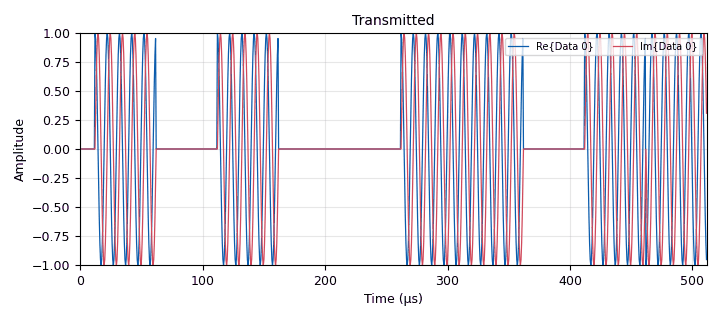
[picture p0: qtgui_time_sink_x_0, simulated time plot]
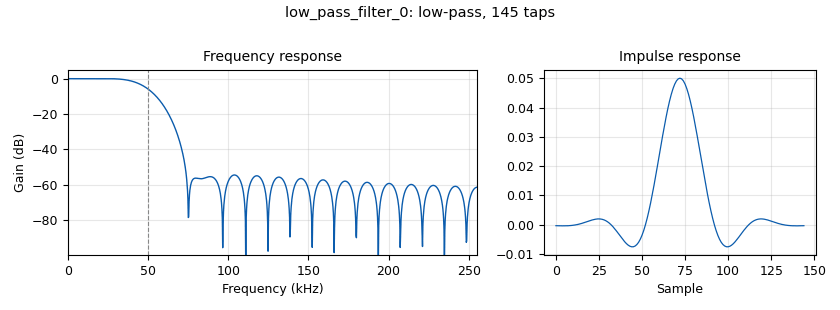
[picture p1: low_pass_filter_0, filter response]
options:
  parameters:
    generate_options: qt_gui
    id: nadafunciona
    output_language: python
    title: Not titled yet
  states: {}

blocks:
- name: info
  id: variable
  parameters:
    value: np.random.choice([0, 1], size=1000)
  states: {state: disabled}
- name: preamble
  id: variable
  parameters:
    value: np.array([0,0,0,0,1,0,1,0,1,0,0,1,1,0,1])
  states: {}
- name: samp_rate
  id: variable
  parameters:
    value: '2000000'
  states: {}
- name: sps
  id: variable
  parameters:
    value: '100'
  states: {}
- name: analog_agc2_xx_0
  id: analog_agc2_xx
  parameters:
    attack_rate: '1e-1'
    decay_rate: '1e-2'
    gain: '1.0'
    max_gain: '65536'
    reference: '1.0'
    type: complex
  states: {}
- name: analog_const_source_x_0
  id: analog_const_source_x
  parameters:
    const: '1'
    type: complex
  states: {state: disabled}
- name: analog_sig_source_x_0
  id: analog_sig_source_x
  parameters:
    amp: '1'
    freq: 100e3
    offset: '0'
    phase: '0'
    samp_rate: samp_rate
    type: complex
    waveform: analog.GR_COS_WAVE
  states: {}
- name: blocks_complex_to_float_0
  id: blocks_complex_to_float
  parameters: {}
  states: {state: disabled}
- name: blocks_complex_to_float_0_0
  id: blocks_complex_to_float
  parameters: {}
  states: {state: disabled}
- name: blocks_complex_to_float_0_0_0
  id: blocks_complex_to_float
  parameters: {}
  states: {state: disabled}
- name: blocks_complex_to_float_0_0_1
  id: blocks_complex_to_float
  parameters: {}
  states: {state: disabled}
- name: blocks_complex_to_float_0_1
  id: blocks_complex_to_float
  parameters: {}
  states: {state: disabled}
- name: blocks_complex_to_float_0_1_0
  id: blocks_complex_to_float
  parameters: {}
  states: {}
- name: blocks_complex_to_float_1
  id: blocks_complex_to_float
  parameters: {}
  states: {state: disabled}
- name: blocks_file_sink_0
  id: blocks_file_sink
  parameters:
    file: C:\Users\ariel\OneDrive\Desktop\TEST_OOK_NOGAIN.bin
    type: float
  states: {state: disabled}
- name: blocks_file_sink_0_0
  id: blocks_file_sink
  parameters:
    file: C:\Users\ariel\OneDrive\Desktop\TEST_OOK_AGC2.bin
    type: float
  states: {state: disabled}
- name: blocks_file_sink_0_1
  id: blocks_file_sink
  parameters:
    file: C:\Users\ariel\OneDrive\Desktop\SENT.bin
    type: float
  states: {state: disabled}
- name: blocks_file_sink_1
  id: blocks_file_sink
  parameters:
    file: C:\Users\ariel\OneDrive\Desktop\originalsignalnoH.bin
    type: float
  states: {state: disabled}
- name: blocks_file_sink_1_0
  id: blocks_file_sink
  parameters:
    file: C:\Users\ariel\OneDrive\Desktop\workspace\demodulated.bin
    type: float
  states: {}
- name: blocks_file_source_0
  id: blocks_file_source
  parameters:
    file: C:\Users\ariel\OneDrive\Desktop\enviotestingimpulso.bin
    repeat: 'True'
    type: float
  states: {state: disabled}
- name: blocks_file_source_0_0
  id: blocks_file_source
  parameters:
    file: C:\Users\ariel\OneDrive\Desktop\OOKTESTINGS\NUEVOLED\BPSK CON H\enviotesting.bin
    repeat: 'True'
    type: float
  states: {state: disabled}
- name: blocks_file_source_0_0_0
  id: blocks_file_source
  parameters:
    file: C:\Users\ariel\OneDrive\Desktop\dataOG.bin
    repeat: 'False'
    type: float
  states: {state: disabled}
- name: blocks_float_to_complex_0
  id: blocks_float_to_complex
  parameters: {}
  states: {state: disabled}
- name: blocks_float_to_complex_0_0
  id: blocks_float_to_complex
  parameters: {}
  states: {state: disabled}
- name: blocks_float_to_complex_1
  id: blocks_float_to_complex
  parameters: {}
  states: {state: disabled}
- name: blocks_multiply_const_vxx_0
  id: blocks_multiply_const_vxx
  parameters:
    const: '15'
    type: float
  states: {state: disabled}
- name: blocks_multiply_xx_0
  id: blocks_multiply_xx
  parameters:
    type: complex
  states: {}
- name: blocks_multiply_xx_0_0
  id: blocks_multiply_xx
  parameters:
    type: complex
  states: {state: disabled}
- name: blocks_multiply_xx_1
  id: blocks_multiply_xx
  parameters:
    type: complex
  states: {}
- name: blocks_repeat_0
  id: blocks_repeat
  parameters:
    interp: sps
    type: complex
  states: {}
- name: blocks_repeat_0_0
  id: blocks_repeat
  parameters:
    interp: sps
    type: complex
  states: {state: disabled}
- name: blocks_vector_source_x_0
  id: blocks_vector_source_x
  parameters:
    repeat: 'True'
    type: complex
    vector: (0,0,0,0,1,0,1,0,1,0,0,1,1,0,1,-1,1,-1,1,-1,-1,1,1,-1,1,-1,1,-1,-1,1,1)
  states: {}
- name: import_0
  id: import
  parameters:
    imports: import numpy as np
  states: {}
- name: low_pass_filter_0
  id: low_pass_filter
  parameters:
    cutoff_freq: (100e3)/2
    decim: '1'
    gain: '1'
    samp_rate: samp_rate
    type: fir_filter_ccf
    width: (100e3)/3
    win: window.WIN_HAMMING
  states: {}
- name: qtgui_freq_sink_x_0
  id: qtgui_freq_sink_x
  parameters:
    bw: samp_rate
    fc: '0'
    fftsize: '1024'
    type: complex
  states: {state: disabled}
- name: qtgui_time_sink_x_0
  id: qtgui_time_sink_x
  parameters:
    name: '"Transmitted"'
    size: '1024'
    srate: samp_rate
    type: complex
  states: {}
- name: qtgui_time_sink_x_0_0
  id: qtgui_time_sink_x
  parameters:
    name: '"Received"'
    size: '1024'
    srate: samp_rate
    type: complex
  states: {}
- name: qtgui_time_sink_x_1
  id: qtgui_time_sink_x
  parameters:
    nconnections: '2'
    size: '1024'
    srate: samp_rate
    type: complex
    update_time: '0.1'
  states: {}
- name: qtgui_time_sink_x_2
  id: qtgui_time_sink_x
  parameters:
    name: '"demodulation"'
    size: '1024'
    srate: samp_rate
    type: float
  states: {}
- name: uhd_usrp_sink_0
  id: uhd_usrp_sink
  parameters:
    ant0: TX/RX
    center_freq0: '0'
    dev_addr: addr=192.168.10.3
    dev_args: '""'
    gain0: '0'
    len_tag_name: ''
    samp_rate: samp_rate
    sync: pc_clock
    type: fc32
  states: {}
- name: uhd_usrp_source_0
  id: uhd_usrp_source
  parameters:
    ant0: RX2
    center_freq0: '0'
    dev_addr: addr=192.168.10.3
    dev_args: '""'
    gain0: '0'
    samp_rate: samp_rate
    sync: pc_clock
    type: fc32
  states: {}

connections:
- [analog_agc2_xx_0, '0', blocks_complex_to_float_1, '0']
- [analog_agc2_xx_0, '0', qtgui_time_sink_x_1, '1']
- [analog_const_source_x_0, '0', blocks_multiply_xx_0, '0']
- [analog_sig_source_x_0, '0', blocks_complex_to_float_0_0_0, '0']
- [analog_sig_source_x_0, '0', blocks_multiply_xx_0, '1']
- [analog_sig_source_x_0, '0', blocks_multiply_xx_0_0, '0']
- [analog_sig_source_x_0, '0', blocks_multiply_xx_1, '0']
- [blocks_complex_to_float_0, '0', blocks_file_sink_0, '0']
- [blocks_complex_to_float_0_0, '0', blocks_file_sink_0_1, '0']
- [blocks_complex_to_float_0_0_0, '0', blocks_file_sink_1, '0']
- [blocks_complex_to_float_0_1, '0', blocks_file_sink_1, '0']
- [blocks_complex_to_float_0_1_0, '0', blocks_file_sink_1_0, '0']
- [blocks_complex_to_float_0_1_0, '0', qtgui_time_sink_x_2, '0']
- [blocks_complex_to_float_1, '0', blocks_file_sink_0_0, '0']
- [blocks_file_source_0, '0', blocks_file_sink_0_1, '0']
- [blocks_file_source_0, '0', blocks_multiply_const_vxx_0, '0']
- [blocks_file_source_0_0, '0', blocks_float_to_complex_0, '0']
- [blocks_file_source_0_0_0, '0', blocks_complex_to_float_0_0_0, '0']
- [blocks_file_source_0_0_0, '0', blocks_float_to_complex_0_0, '0']
- [blocks_float_to_complex_0, '0', blocks_repeat_0, '0']
- [blocks_float_to_complex_0_0, '0', blocks_repeat_0_0, '0']
- [blocks_float_to_complex_1, '0', qtgui_time_sink_x_0, '0']
- [blocks_float_to_complex_1, '0', qtgui_time_sink_x_1, '0']
- [blocks_float_to_complex_1, '0', uhd_usrp_sink_0, '0']
- [blocks_multiply_const_vxx_0, '0', blocks_float_to_complex_1, '0']
- [blocks_multiply_xx_0, '0', blocks_complex_to_float_0_0, '0']
- [blocks_multiply_xx_0, '0', qtgui_time_sink_x_0, '0']
- [blocks_multiply_xx_0, '0', qtgui_time_sink_x_1, '0']
- [blocks_multiply_xx_0, '0', uhd_usrp_sink_0, '0']
- [blocks_multiply_xx_0_0, '0', blocks_complex_to_float_0_1, '0']
- [blocks_multiply_xx_1, '0', low_pass_filter_0, '0']
- [blocks_repeat_0, '0', blocks_multiply_xx_0, '0']
- [blocks_repeat_0_0, '0', blocks_multiply_xx_0_0, '1']
- [blocks_vector_source_x_0, '0', blocks_repeat_0, '0']
- [low_pass_filter_0, '0', blocks_complex_to_float_0_1_0, '0']
- [uhd_usrp_source_0, '0', analog_agc2_xx_0, '0']
- [uhd_usrp_source_0, '0', blocks_complex_to_float_0, '0']
- [uhd_usrp_source_0, '0', blocks_multiply_xx_1, '1']
- [uhd_usrp_source_0, '0', qtgui_freq_sink_x_0, '0']
- [uhd_usrp_source_0, '0', qtgui_time_sink_x_0_0, '0']

metadata:
  file_format: 1
  grc_version: 3.10.10.0
